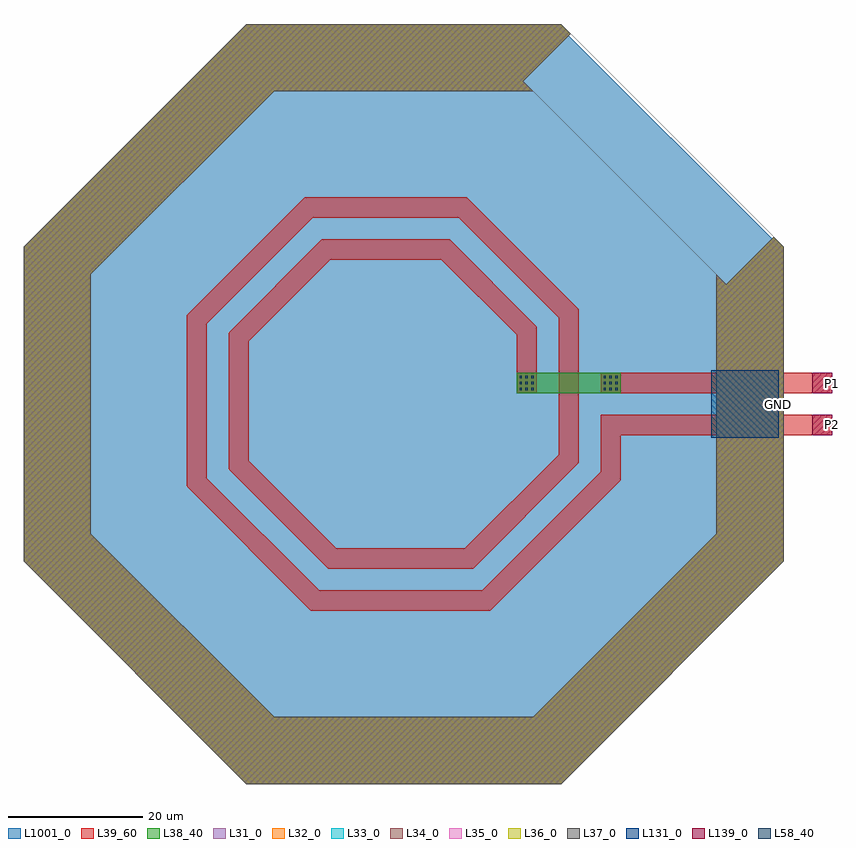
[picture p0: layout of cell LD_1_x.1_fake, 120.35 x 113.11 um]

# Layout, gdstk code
import gdstk
lib = gdstk.Library(unit=1e-6, precision=1e-09)
def R(c, l, rs):  # rectangles x0, y0, x1, y1
    for r in rs: c.add(gdstk.rectangle(r[:2], r[2:], *l))
def A(c, l, x, y, w, h, nx, ny, dx, dy):  # array of equal rectangles
    R(c, l, [(x+i*dx, y+j*dy, x+i*dx+w, y+j*dy+h) for i in range(nx) for j in range(ny)])
def P(c, l, *ps):  # polygons
    for p in ps: c.add(gdstk.Polygon(p, *l))
L31_0 = (31, 0)
L32_0 = (32, 0)
L33_0 = (33, 0)
L34_0 = (34, 0)
L35_0 = (35, 0)
L36_0 = (36, 0)
L37_0 = (37, 0)
L38_40 = (38, 40)
L39_60 = (39, 60)
L58_40 = (58, 40)
L131_0 = (131, 0)
L139_0 = (139, 0)
L1001_0 = (1001, 0)

ld_1_x_1_fake = lib.new_cell('LD_1_x.1_fake')
P(ld_1_x_1_fake, L31_0, [(48.018,17.819),(55.089,24.89),(23.425,56.553),(-23.425,56.553),(-56.553,23.425),(-56.553,-23.425),(-23.425,-56.553),(23.425,-56.553),(56.553,-23.425),(56.553,23.425),(24.89,55.089),(17.819,48.018),(46.553,19.283),(46.553,-19.283),(19.283,-46.553),(-19.283,-46.553),(-46.553,-19.283),(-46.553,19.283),(-19.283,46.553),(19.283,46.553)])
P(ld_1_x_1_fake, L32_0, [(48.018,17.819),(55.089,24.89),(23.425,56.553),(-23.425,56.553),(-56.553,23.425),(-56.553,-23.425),(-23.425,-56.553),(23.425,-56.553),(56.553,-23.425),(56.553,23.425),(24.89,55.089),(17.819,48.018),(46.553,19.283),(46.553,-19.283),(19.283,-46.553),(-19.283,-46.553),(-46.553,-19.283),(-46.553,19.283),(-19.283,46.553),(19.283,46.553)])
P(ld_1_x_1_fake, L33_0, [(48.018,17.819),(55.089,24.89),(23.425,56.553),(-23.425,56.553),(-56.553,23.425),(-56.553,-23.425),(-23.425,-56.553),(23.425,-56.553),(56.553,-23.425),(56.553,23.425),(24.89,55.089),(17.819,48.018),(46.553,19.283),(46.553,-19.283),(19.283,-46.553),(-19.283,-46.553),(-46.553,-19.283),(-46.553,19.283),(-19.283,46.553),(19.283,46.553)])
P(ld_1_x_1_fake, L34_0, [(48.018,17.819),(55.089,24.89),(23.425,56.553),(-23.425,56.553),(-56.553,23.425),(-56.553,-23.425),(-23.425,-56.553),(23.425,-56.553),(56.553,-23.425),(56.553,23.425),(24.89,55.089),(17.819,48.018),(46.553,19.283),(46.553,-19.283),(19.283,-46.553),(-19.283,-46.553),(-46.553,-19.283),(-46.553,19.283),(-19.283,46.553),(19.283,46.553)])
P(ld_1_x_1_fake, L35_0, [(48.018,17.819),(55.089,24.89),(23.425,56.553),(-23.425,56.553),(-56.553,23.425),(-56.553,-23.425),(-23.425,-56.553),(23.425,-56.553),(56.553,-23.425),(56.553,23.425),(24.89,55.089),(17.819,48.018),(46.553,19.283),(46.553,-19.283),(19.283,-46.553),(-19.283,-46.553),(-46.553,-19.283),(-46.553,19.283),(-19.283,46.553),(19.283,46.553)])
P(ld_1_x_1_fake, L36_0, [(48.018,17.819),(55.089,24.89),(23.425,56.553),(-23.425,56.553),(-56.553,23.425),(-56.553,-23.425),(-23.425,-56.553),(23.425,-56.553),(56.553,-23.425),(56.553,23.425),(24.89,55.089),(17.819,48.018),(46.553,19.283),(46.553,-19.283),(19.283,-46.553),(-19.283,-46.553),(-46.553,-19.283),(-46.553,19.283),(-19.283,46.553),(19.283,46.553)])
P(ld_1_x_1_fake, L37_0, [(48.018,17.819),(55.089,24.89),(23.425,56.553),(-23.425,56.553),(-56.553,23.425),(-56.553,-23.425),(-23.425,-56.553),(23.425,-56.553),(56.553,-23.425),(56.553,23.425),(24.89,55.089),(17.819,48.018),(46.553,19.283),(46.553,-19.283),(19.283,-46.553),(-19.283,-46.553),(-46.553,-19.283),(-46.553,19.283),(-19.283,46.553),(19.283,46.553)])
R(ld_1_x_1_fake, L38_40, [(16.8,1.625,32.3,4.625)])
P(ld_1_x_1_fake, L38_40, [(48.018,17.819),(55.089,24.89),(23.425,56.553),(-23.425,56.553),(-56.553,23.425),(-56.553,-23.425),(-23.425,-56.553),(23.425,-56.553),(56.553,-23.425),(56.553,23.425),(24.89,55.089),(17.819,48.018),(46.553,19.283),(46.553,-19.283),(19.283,-46.553),(-19.283,-46.553),(-46.553,-19.283),(-46.553,19.283),(-19.283,46.553),(19.283,46.553)])
R(ld_1_x_1_fake, L39_60, [(29.3,-4.625,63.8,-1.625), (29.3,1.625,63.8,4.625)])
P(ld_1_x_1_fake, L39_60, [(16.8,1.625),(19.8,1.625),(19.8,11.516),(6.832,24.49),(-12.161,24.49),(-26.05,10.601),(-26.05,-9.686),(-11.246,-24.49),(10.331,-24.49),(26.05,-8.771),(26.05,14.106),(9.416,30.74),(-14.751,30.74),(-32.3,13.191),(-32.3,-12.276),(-13.836,-30.74),(12.921,-30.74),(32.3,-11.361),(32.3,-3.125),(29.3,-3.125),(29.3,-10.119),(11.679,-27.74),(-12.594,-27.74),(-29.3,-11.034),(-29.3,11.949),(-13.509,27.74),(8.174,27.74),(23.05,12.864),(23.05,-7.529),(9.089,-21.49),(-10.004,-21.49),(-23.05,-8.444),(-23.05,9.359),(-10.919,21.49),(5.588,21.49),(16.8,10.274)],
  [(48.018,17.819),(55.089,24.89),(23.425,56.553),(-23.425,56.553),(-56.553,23.425),(-56.553,-23.425),(-23.425,-56.553),(23.425,-56.553),(56.553,-23.425),(56.553,23.425),(24.89,55.089),(17.819,48.018),(46.553,19.283),(46.553,-19.283),(19.283,-46.553),(-19.283,-46.553),(-46.553,-19.283),(-46.553,19.283),(-19.283,46.553),(19.283,46.553)])
A(ld_1_x_1_fake, L58_40, 17.256, 2.08, 0.35, 0.35, 3, 3, 0.87, 0.87)
A(ld_1_x_1_fake, L58_40, 29.756, 2.08, 0.35, 0.35, 3, 3, 0.87, 0.87)
R(ld_1_x_1_fake, L131_0, [(45.8,-5,55.8,5)])
R(ld_1_x_1_fake, L139_0, [(60.8,-4.625,63.8,-1.625), (60.8,1.625,63.8,4.625)])
P(ld_1_x_1_fake, L1001_0, [(56.173,23.268),(23.268,56.173),(-23.268,56.173),(-56.173,23.268),(-56.173,-23.268),(-23.268,-56.173),(23.268,-56.173),(56.173,-23.268)],
  [(56.173,23.268),(23.268,56.173),(-23.268,56.173),(-56.173,23.268),(-56.173,-23.268),(-23.268,-56.173),(23.268,-56.173),(56.173,-23.268)],
  [(56.173,23.268),(23.268,56.173),(-23.268,56.173),(-56.173,23.268),(-56.173,-23.268),(-23.268,-56.173),(23.268,-56.173),(56.173,-23.268)],
  [(56.173,23.268),(23.268,56.173),(-23.268,56.173),(-56.173,23.268),(-56.173,-23.268),(-23.268,-56.173),(23.268,-56.173),(56.173,-23.268)],
  [(56.173,23.268),(23.268,56.173),(-23.268,56.173),(-56.173,23.268),(-56.173,-23.268),(-23.268,-56.173),(23.268,-56.173),(56.173,-23.268)],
  [(56.173,23.268),(23.268,56.173),(-23.268,56.173),(-56.173,23.268),(-56.173,-23.268),(-23.268,-56.173),(23.268,-56.173),(56.173,-23.268)],
  [(56.173,23.268),(23.268,56.173),(-23.268,56.173),(-56.173,23.268),(-56.173,-23.268),(-23.268,-56.173),(23.268,-56.173),(56.173,-23.268)],
  [(56.173,23.268),(23.268,56.173),(-23.268,56.173),(-56.173,23.268),(-56.173,-23.268),(-23.268,-56.173),(23.268,-56.173),(56.173,-23.268)],
  [(56.173,23.268),(23.268,56.173),(-23.268,56.173),(-56.173,23.268),(-56.173,-23.268),(-23.268,-56.173),(23.268,-56.173),(56.173,-23.268)])
ld_1_x_1_fake.add(gdstk.Label('P1', (63.801,3.125), layer=139, texttype=0))
ld_1_x_1_fake.add(gdstk.Label('P2', (63.801,-3.125), layer=139, texttype=0))
ld_1_x_1_fake.add(gdstk.Label('GND', (55.801,0), layer=131, texttype=0))

lib.write_gds('LD_1_x.1_fake.gds')
